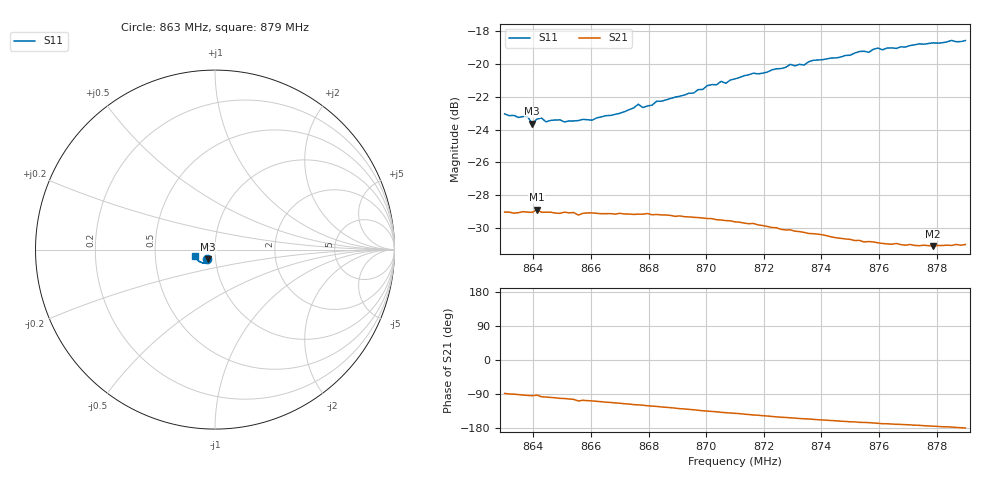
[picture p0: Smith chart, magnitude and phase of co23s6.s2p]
# HZ S RI R 50
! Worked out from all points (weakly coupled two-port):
!   101 points, 863 MHz to 879 MHz, reference 50 ohm
!   highest |S21| = -28.89 dB at 864.12 MHz (marker M1); lowest = -31.1 dB at 877.88 MHz (marker M2)
!   lowest |S11| = -23.6 dB at 863.96 MHz (marker M3), VSWR 1.14, Z = 46.1 - j4.97 ohm
!   |S11| at or under -10 dB: start of sweep to end of sweep
!   S12 and S22 are empty: the file has one direction only
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8.63e8  -0.044 -0.0551  0.00115 -0.0353  0 0  0 0
8.638e8  -0.0418 -0.055  -0.00214 -0.0353  0 0  0 0
8.6396e8  -0.038 -0.0537  -0.00261 -0.0352  0 0  0 0
8.6412e8  -0.0375 -0.0567  -0.00168 -0.0359  0 0  0 0
8.6428e8  -0.0387 -0.0565  -0.00432 -0.0351  0 0  0 0
8.6444e8  -0.0384 -0.0544  -0.00485 -0.035  0 0  0 0
8.6572e8  -0.0347 -0.0582  -0.00984 -0.0336  0 0  0 0
8.6604e8  -0.0334 -0.0586  -0.0108 -0.0334  0 0  0 0
8.6716e8  -0.0341 -0.0629  -0.015 -0.0315  0 0  0 0
8.6764e8  -0.036 -0.0663  -0.0165 -0.0307  0 0  0 0
8.678e8  -0.0347 -0.065  -0.0171 -0.0303  0 0  0 0
8.6844e8  -0.0366 -0.0678  -0.0193 -0.0288  0 0  0 0
8.71e8  -0.05 -0.075  -0.0256 -0.0209  0 0  0 0
8.7292e8  -0.0647 -0.0761  -0.0277 -0.0143  0 0  0 0
8.734e8  -0.0667 -0.0737  -0.0278 -0.0129  0 0  0 0
8.7372e8  -0.0704 -0.0748  -0.0279 -0.0121  0 0  0 0
8.7532e8  -0.0849 -0.0687  -0.0279 -0.00772  0 0  0 0
8.7564e8  -0.0862 -0.0662  -0.0278 -0.00731  0 0  0 0
8.7596e8  -0.0908 -0.0655  -0.0278 -0.00638  0 0  0 0
8.7644e8  -0.0935 -0.0618  -0.0277 -0.0054  0 0  0 0
8.7788e8  -0.1056 -0.0484  -0.0277 -0.0026  0 0  0 0
8.79e8  -0.1119 -0.0376  -0.0281 -0.000277  0 0  0 0
